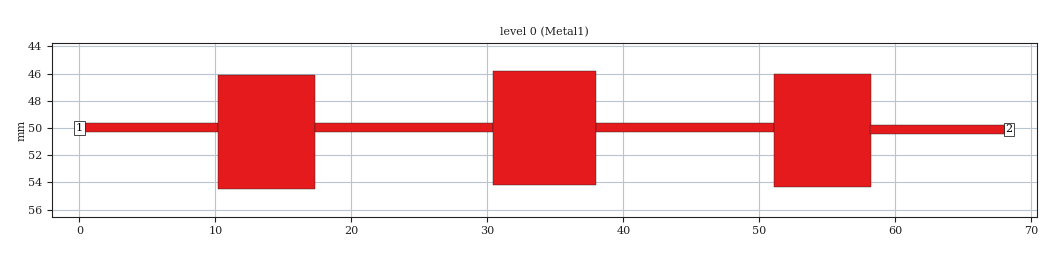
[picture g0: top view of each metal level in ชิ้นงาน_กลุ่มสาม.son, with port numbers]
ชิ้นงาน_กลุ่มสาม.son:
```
FTYP SONPROJ 19 ! Sonnet Project File
VER 18.53
HEADER
LIC SL65accc8c
DAT 03/14/2024 16:45:05
BUILT_BY_CREATED xgeom 18.53-Lite 02/13/2024 18:09:48
BUILT_BY_SAVED sonnet 18.53-Lite
MDATE 02/26/2024 21:14:46
HDATE 02/26/2024 21:14:46
END HEADER
DIM
ANG DEG
CAP PF
CON /OH
FREQ GHZ
IND NH
LNG MM
RES OH
END DIM
CONTROL
VARSWP
OPTIONS  -d
SPEED 0
CACHE_ABS 2
Q_ACC N
END CONTROL
GEO
TMET "Copper" 1 NOR 58000000 0.5 1 
BMET "Lossless" 0 SUP 0 0 0 0
BOX 1 68.34 100 13668 2000 20 0
      16 9.4 1 0.0004 0 0 0 "air"
      1.6 4.4 1 0.02 0 0 0 "FR-4"
TECHLAY METAL Metal1 <UNSPECIFIED> -2 -65534 
0 0 -1 N 101 1 1 100 100 0 0 0 Y
END
END
LORGN 0 6.35 U 
POR1 BOX
POLY 86 1
3
1 50 0 0 0 0.001 50 
POR1 BOX
POLY 92 1
1
2 50 0 0 0 68.338 50.1 
NUM 7
0 5 -1 N 86 1 1 100 100 0 0 0 Y
TLAYNAM Metal1 INH
0.001 49.67
10.171 49.67
10.171 50.33
0.001 50.33
0.001 49.67
END
0 5 -1 N 87 1 1 100 100 0 0 0 Y
TLAYNAM Metal1 INH
10.173 46.13
17.303 46.13
17.303 54.47
10.173 54.47
10.173 46.13
END
0 5 -1 N 88 1 1 100 100 0 0 0 Y
TLAYNAM Metal1 INH
17.299 49.67
30.379 49.67
30.379 50.33
17.299 50.33
17.299 49.67
END
0 5 -1 N 89 1 1 100 100 0 0 0 Y
TLAYNAM Metal1 INH
30.381 45.83
37.961 45.83
37.961 54.17
30.381 54.17
30.381 45.83
END
0 5 -1 N 90 1 1 100 100 0 0 0 Y
TLAYNAM Metal1 INH
37.96 49.67
51.04 49.67
51.04 50.33
37.96 50.33
37.96 49.67
END
0 5 -1 N 91 1 1 100 100 0 0 0 Y
TLAYNAM Metal1 INH
51.045 46.03
58.175 46.03
58.175 54.37
51.045 54.37
51.045 46.03
END
0 5 -1 N 92 1 1 100 100 0 0 0 Y
TLAYNAM Metal1 INH
58.168 49.77
68.338 49.77
68.338 50.43
58.168 50.43
58.168 49.77
END
END GEO
OPT
MAX 100
END OPT
VARSWP
ENABLED Y
FREQ N AY ABS_ENTRY UNK 
FREQ Y AN SWEEP 1.5 3.0 0.05
END
END VARSWP
TRANSLATOR
DXFEXPORT
UseTLs true
SepObj true
SepMat true
DivideMulti false
Circles false
CircleType inscribed
CircleSize 0
KeepMetals true
KeepVias true
KeepViaPads true
KeepBricks true
KeepEdgeVias true
KeepParent true
ConvertParent false
AllEdgeViasAsVia false
END
END TRANSLATOR
```
